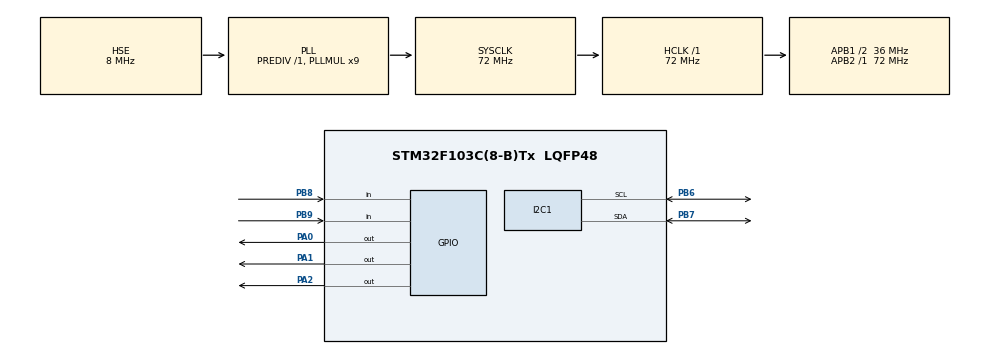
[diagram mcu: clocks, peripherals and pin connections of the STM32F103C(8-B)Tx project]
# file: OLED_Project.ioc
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I2C1.I2C_Mode=I2C_Fast
Mcu.Family=STM32F1
Mcu.Name=STM32F103C(8-B)Tx
Mcu.Package=LQFP48
NVIC.PriorityGroup=NVIC_PRIORITYGROUP_4
PA0-WKUP.Signal=GPIO_Output
PA1.Signal=GPIO_Output
PA13.Mode=Serial_Wire
PA13.Signal=SYS_JTMS-SWDIO
PA14.Mode=Serial_Wire
PA14.Signal=SYS_JTCK-SWCLK
PA2.Signal=GPIO_Output
PB6.Mode=I2C
PB6.Signal=I2C1_SCL
PB7.Mode=I2C
PB7.Signal=I2C1_SDA
PB8.Signal=GPIO_Input
PB9.Signal=GPIO_Input
PD0-OSC_IN.Mode=HSE-External-Oscillator
PD0-OSC_IN.Signal=RCC_OSC_IN
PD1-OSC_OUT.Mode=HSE-External-Oscillator
PD1-OSC_OUT.Signal=RCC_OSC_OUT
ProjectManager.HeapSize=0x200
ProjectManager.StackSize=0x400
ProjectManager.TargetToolchain=MDK-ARM V5.27
RCC.AHBFreq_Value=72000000
RCC.APB1CLKDivider=RCC_HCLK_DIV2
RCC.APB1Freq_Value=36000000
RCC.APB1TimFreq_Value=72000000
RCC.APB2Freq_Value=72000000
RCC.APB2TimFreq_Value=72000000
RCC.HCLKFreq_Value=72000000
RCC.PLLMUL=RCC_PLL_MUL9
RCC.PLLSourceVirtual=RCC_PLLSOURCE_HSE
RCC.SYSCLKFreq_VALUE=72000000
RCC.SYSCLKSource=RCC_SYSCLKSOURCE_PLLCLK
RCC.USBFreq_Value=72000000
board=custom

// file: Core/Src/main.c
/* USER CODE BEGIN Header */
/**
  ******************************************************************************
  * @file           : main.c
  * @brief          : Main program body
  ******************************************************************************
  * @attention
  *
  * <h2><center>&copy; Copyright (c) 2021 STMicroelectronics.
  * All rights reserved.</center></h2>
  *
  * This software component is licensed by ST under BSD 3-Clause license,
  * the "License"; You may not use this file except in compliance with the
  * License. You may obtain a copy of the License at:
  *                        opensource.org/licenses/BSD-3-Clause
  *
  ******************************************************************************
  */
/* USER CODE END Header */
#include "main.h"

/* USER CODE BEGIN Includes */
#include "ssd1306.h"
#include "fonts.h"
#include "test.h"
/* USER CODE END Includes */

I2C_HandleTypeDef hi2c1;

/* USER CODE BEGIN PV */
uint8_t Index1 = 0;
uint8_t MaxValue1 = 7;

char arr[8][5] = {"CAL", "I", "II", "III", "AVR", "AVL", "AVF", "C"};
/* USER CODE END PV */

void SystemClock_Config(void);
static void MX_GPIO_Init(void);
static void MX_I2C1_Init(void);
/* USER CODE BEGIN PFP */
void Button_and_Output1(void);
void Set_Output1(uint8_t index1);
void OLED_Print(uint8_t index1);
/* USER CODE END PFP */

int main(void)
{

  /* MCU Configuration--------------------------------------------------------*/

  /* Reset of all peripherals, Initializes the Flash interface and the Systick. */
  HAL_Init();

  /* Configure the system clock */
  SystemClock_Config();

  /* Initialize all configured peripherals */
  MX_GPIO_Init();
  MX_I2C1_Init();
  /* USER CODE BEGIN 2 */

	SSD1306_Init (); // initialize the display
	OLED_Print(Index1);
	Set_Output1(Index1);
  /* USER CODE END 2 */

  /* Infinite loop */
  /* USER CODE BEGIN WHILE */
  while (1)
  {
		Button_and_Output1();
    Set_Output1(Index1);
		//OLED_Print(Index1);
    /* USER CODE END WHILE */

  }
}

void SystemClock_Config(void)
{
  RCC_OscInitTypeDef RCC_OscInitStruct = {0};
  RCC_ClkInitTypeDef RCC_ClkInitStruct = {0};

  /** Initializes the RCC Oscillators according to the specified parameters
  * in the RCC_OscInitTypeDef structure.
  */
  RCC_OscInitStruct.OscillatorType = RCC_OSCILLATORTYPE_HSE;
  RCC_OscInitStruct.HSEState = RCC_HSE_ON;
  RCC_OscInitStruct.HSEPredivValue = RCC_HSE_PREDIV_DIV1;
  RCC_OscInitStruct.HSIState = RCC_HSI_ON;
  RCC_OscInitStruct.PLL.PLLState = RCC_PLL_ON;
  RCC_OscInitStruct.PLL.PLLSource = RCC_PLLSOURCE_HSE;
  RCC_OscInitStruct.PLL.PLLMUL = RCC_PLL_MUL9;
  if (HAL_RCC_OscConfig(&RCC_OscInitStruct) != HAL_OK)
  {
    Error_Handler();
  }
  /** Initializes the CPU, AHB and APB buses clocks
  */
  RCC_ClkInitStruct.ClockType = RCC_CLOCKTYPE_HCLK|RCC_CLOCKTYPE_SYSCLK
                              |RCC_CLOCKTYPE_PCLK1|RCC_CLOCKTYPE_PCLK2;
  RCC_ClkInitStruct.SYSCLKSource = RCC_SYSCLKSOURCE_PLLCLK;
  RCC_ClkInitStruct.AHBCLKDivider = RCC_SYSCLK_DIV1;
  RCC_ClkInitStruct.APB1CLKDivider = RCC_HCLK_DIV2;
  RCC_ClkInitStruct.APB2CLKDivider = RCC_HCLK_DIV1;

  if (HAL_RCC_ClockConfig(&RCC_ClkInitStruct, FLASH_LATENCY_2) != HAL_OK)
  {
    Error_Handler();
  }
}

static void MX_I2C1_Init(void)
{

  hi2c1.Instance = I2C1;
  hi2c1.Init.ClockSpeed = 400000;
  hi2c1.Init.DutyCycle = I2C_DUTYCYCLE_2;
  hi2c1.Init.OwnAddress1 = 0;
  hi2c1.Init.AddressingMode = I2C_ADDRESSINGMODE_7BIT;
  hi2c1.Init.DualAddressMode = I2C_DUALADDRESS_DISABLE;
  hi2c1.Init.OwnAddress2 = 0;
  hi2c1.Init.GeneralCallMode = I2C_GENERALCALL_DISABLE;
  hi2c1.Init.NoStretchMode = I2C_NOSTRETCH_DISABLE;
  if (HAL_I2C_Init(&hi2c1) != HAL_OK)
  {
    Error_Handler();
  }

}

static void MX_GPIO_Init(void)
{
  GPIO_InitTypeDef GPIO_InitStruct = {0};

  /* GPIO Ports Clock Enable */
  __HAL_RCC_GPIOD_CLK_ENABLE();
  __HAL_RCC_GPIOA_CLK_ENABLE();
  __HAL_RCC_GPIOB_CLK_ENABLE();

  /*Configure GPIO pin Output Level */
  HAL_GPIO_WritePin(GPIOA, GPIO_PIN_0|GPIO_PIN_1|GPIO_PIN_2, GPIO_PIN_RESET);

  /*Configure GPIO pins : PA0 PA1 PA2 */
  GPIO_InitStruct.Pin = GPIO_PIN_0|GPIO_PIN_1|GPIO_PIN_2;
  GPIO_InitStruct.Mode = GPIO_MODE_OUTPUT_PP;
  GPIO_InitStruct.Pull = GPIO_NOPULL;
  GPIO_InitStruct.Speed = GPIO_SPEED_FREQ_LOW;
  HAL_GPIO_Init(GPIOA, &GPIO_InitStruct);

  /*Configure GPIO pins : PB8 PB9 */
  GPIO_InitStruct.Pin = GPIO_PIN_8|GPIO_PIN_9;
  GPIO_InitStruct.Mode = GPIO_MODE_INPUT;
  GPIO_InitStruct.Pull = GPIO_PULLUP;
  HAL_GPIO_Init(GPIOB, &GPIO_InitStruct);

}

/* USER CODE BEGIN 4 */
void Button_and_Output1(void)
{
// for first display

	if(!HAL_GPIO_ReadPin(GPIOB,GPIO_PIN_8))
	{

		HAL_Delay(200);
		Index1 = Index1 + 1;
		if(Index1 >= MaxValue1)
		{
			Index1 = MaxValue1;
		}
		OLED_Print(Index1);
		Set_Output1(Index1);

	}
//	else{
//
//	}

	if(!HAL_GPIO_ReadPin(GPIOB,GPIO_PIN_9))
	{

		HAL_Delay(200);
		if(!(Index1==0))
		{
			Index1 = (signed int)(Index1 - 1);
		}
			/*	if(Index2 <= 0)
		{
			Index2 = 0;
		}	*/
		OLED_Print(Index1);
		Set_Output1(Index1);

	}
//	else{
//
//	}
}

void Set_Output1(uint8_t index1)
{
	if(index1 == 0)
	{
		//HAL_GPIO_WritePin(GPIOB,GPIO_PIN_3,GPIO_PIN_RESET);
		HAL_GPIO_WritePin(GPIOA,GPIO_PIN_0,GPIO_PIN_RESET);
		HAL_GPIO_WritePin(GPIOA,GPIO_PIN_1,GPIO_PIN_RESET);
		HAL_GPIO_WritePin(GPIOA,GPIO_PIN_2,GPIO_PIN_RESET);
	}
	else if(index1 == 1)
	{
		//HAL_GPIO_WritePin(GPIOA,GPIO_PIN_3,GPIO_PIN_RESET);
		HAL_GPIO_WritePin(GPIOA,GPIO_PIN_0,GPIO_PIN_SET);
		HAL_GPIO_WritePin(GPIOA,GPIO_PIN_1,GPIO_PIN_RESET);
		HAL_GPIO_WritePin(GPIOA,GPIO_PIN_2,GPIO_PIN_RESET);
	}
	else if(index1 == 2)
	{
		//HAL_GPIO_WritePin(GPIOA,GPIO_PIN_3,GPIO_PIN_RESET);
		HAL_GPIO_WritePin(GPIOA,GPIO_PIN_0,GPIO_PIN_RESET);
		HAL_GPIO_WritePin(GPIOA,GPIO_PIN_1,GPIO_PIN_SET);
		HAL_GPIO_WritePin(GPIOA,GPIO_PIN_2,GPIO_PIN_RESET);
	}
	else if(index1 == 3)
	{
		//HAL_GPIO_WritePin(GPIOA,GPIO_PIN_3,GPIO_PIN_RESET);
		HAL_GPIO_WritePin(GPIOA,GPIO_PIN_0,GPIO_PIN_SET);
		HAL_GPIO_WritePin(GPIOA,GPIO_PIN_1,GPIO_PIN_SET);
		HAL_GPIO_WritePin(GPIOA,GPIO_PIN_2,GPIO_PIN_RESET);
	}
	else if(index1 == 4)
	{
		//HAL_GPIO_WritePin(GPIOA,GPIO_PIN_3,GPIO_PIN_RESET);
		HAL_GPIO_WritePin(GPIOA,GPIO_PIN_0,GPIO_PIN_RESET);
		HAL_GPIO_WritePin(GPIOA,GPIO_PIN_1,GPIO_PIN_RESET);
		HAL_GPIO_WritePin(GPIOA,GPIO_PIN_2,GPIO_PIN_SET);
	}
	else if(index1 == 5)
	{
		//HAL_GPIO_WritePin(GPIOA,GPIO_PIN_3,GPIO_PIN_RESET);
		HAL_GPIO_WritePin(GPIOA,GPIO_PIN_0,GPIO_PIN_SET);
		HAL_GPIO_WritePin(GPIOA,GPIO_PIN_1,GPIO_PIN_RESET);
		HAL_GPIO_WritePin(GPIOA,GPIO_PIN_2,GPIO_PIN_SET);
	}
	else if(index1 == 6)
	{
		//HAL_GPIO_WritePin(GPIOA,GPIO_PIN_3,GPIO_PIN_RESET);
		HAL_GPIO_WritePin(GPIOA,GPIO_PIN_0,GPIO_PIN_RESET);
		HAL_GPIO_WritePin(GPIOA,GPIO_PIN_1,GPIO_PIN_SET);
		HAL_GPIO_WritePin(GPIOA,GPIO_PIN_2,GPIO_PIN_SET);
	}
	else if(index1 == 7)
	{
		//HAL_GPIO_WritePin(GPIOA,GPIO_PIN_3,GPIO_PIN_RESET);
		HAL_GPIO_WritePin(GPIOA,GPIO_PIN_0,GPIO_PIN_SET);
		HAL_GPIO_WritePin(GPIOA,GPIO_PIN_1,GPIO_PIN_SET);
		HAL_GPIO_WritePin(GPIOA,GPIO_PIN_2,GPIO_PIN_SET);
	}
	else{

	}

}

void OLED_Print(uint8_t index1)
{
	SSD1306_Clear();
	SSD1306_GotoXY (40,20);
	SSD1306_Puts(arr[index1], &Font_16x26, 1);
	SSD1306_UpdateScreen();

}
/* USER CODE END 4 */

void Error_Handler(void)
{
  __disable_irq();
  while (1)
  {
  }
}

/************************ (C) COPYRIGHT STMicroelectronics *****END OF FILE****/
